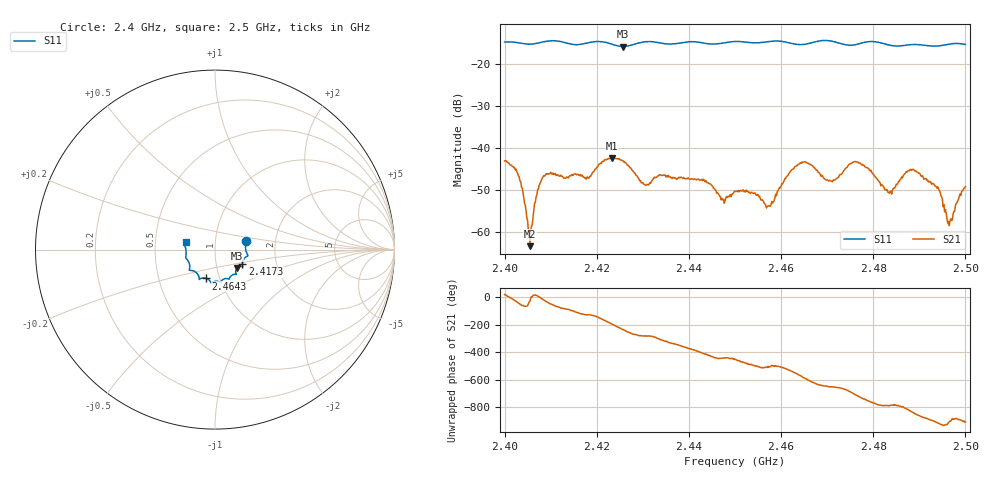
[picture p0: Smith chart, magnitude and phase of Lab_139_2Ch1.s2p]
# Hz S RI R 50
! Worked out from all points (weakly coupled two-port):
!   601 points, 2.4 GHz to 2.5 GHz, reference 50 ohm
!   highest |S21| = -42.37 dB at 2.4233 GHz (marker M1); lowest = -63.3 dB at 2.4055 GHz (marker M2)
!   lowest |S11| = -15.9 dB at 2.4257 GHz (marker M3), VSWR 1.38, Z = 62.4 - j13.1 ohm
!   |S11| at or under -10 dB: start of sweep to end of sweep
!   S12 and S22 are empty: the file has one direction only
!   S11 on the Smith chart (normalised r, x): 2.4 GHz: 1.41, +0.15; 2.4173 GHz: 1.34, -0.23; 2.4643 GHz: 0.86, -0.28; 2.5 GHz: 0.72, +0.06
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2.4e9  0.1735 0.0498  0.00666 0.00216  0 0  0 0
2.403e9  0.1736 0.0348  0.00339 -0.0032  0 0  0 0
2.4055e9  0.1701 0.00719  0.000588 -0.000351  0 0  0 0
2.408667e9  0.1806 -0.0262  0.00423 -0.00197  0 0  0 0
2.416667e9  0.153 -0.0745  -0.00252 -0.0039  0 0  0 0
2.417333e9  0.1524 -0.082  -0.00266 -0.00353  0 0  0 0
2.423333e9  0.1423 -0.0933  -0.00726 0.0023  0 0  0 0
2.425667e9  0.1224 -0.1022  -0.00388 0.00589  0 0  0 0
2.430167e9  0.1184 -0.1366  0.000818 0.00364  0 0  0 0
2.433333e9  0.1129 -0.1369  0.00255 0.00395  0 0  0 0
2.4475e9  0.0376 -0.172  0.0003 -0.00244  0 0  0 0
2.45e9  0.0294 -0.1807  -0.000212 -0.00306  0 0  0 0
2.457333e9  -0.0155 -0.182  -0.00179 -0.00102  0 0  0 0
2.464333e9  -0.0505 -0.1605  -0.00542 0.00366  0 0  0 0
2.466667e9  -0.0763 -0.1597  -0.00126 0.00608  0 0  0 0
2.470833e9  -0.0871 -0.164  0.00144 0.00377  0 0  0 0
2.476667e9  -0.1235 -0.1175  0.00682 4.25e-05  0 0  0 0
2.483333e9  -0.1408 -0.0895  0.00111 -0.00277  0 0  0 0
2.489e9  -0.1622 -0.0463  -0.00324 -0.0043  0 0  0 0
2.494e9  -0.162 -0.00125  -0.00332 0.000963  0 0  0 0
2.496667e9  -0.1695 0.0245  -0.00137 5.98e-05  0 0  0 0
2.5e9  -0.1634 0.0419  -0.00344 0.000498  0 0  0 0
